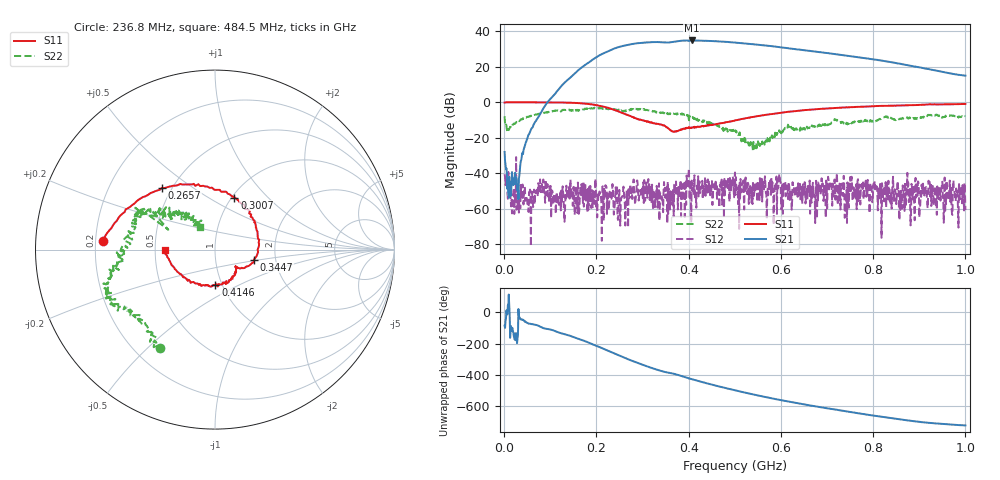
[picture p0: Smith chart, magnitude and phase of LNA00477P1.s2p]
! Created with skrf 1.9.0 (http://scikit-rf.org).
# Hz S RI R 50.0
!freq ReS11 ImS11 ReS21 ImS21 ReS12 ImS12 ReS22 ImS22
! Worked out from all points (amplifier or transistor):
!   1001 points, 1 MHz to 1 GHz, reference 50 ohm
!   highest |S21| = 34.9 dB at 406.6 MHz (marker M1)
!   |S21| within 3 dB of that: 259.3 MHz to 571.9 MHz (312.6 MHz wide, 75.2 % of centre)
!   unconditionally stable (mu >= 1): 221.8 MHz to 280.5 MHz; 303.7 MHz to 399.5 MHz; 400.1 MHz to end of sweep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
!   at 166.8 MHz: K = 2.29, MAG = 29.9 dB, |S12| = -53.2 dB
!   at 500.5 MHz: K = 1.12, MAG = 34.5 dB, |S12| = -39.5 dB
!   at 1 GHz: K = 14.81, MAG = 23.2 dB, |S12| = -60.7 dB
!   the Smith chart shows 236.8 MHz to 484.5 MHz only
!   S11 on the Smith chart (normalised r, x): 236.8 MHz: 0.23, +0.03; 265.7 MHz: 0.44, +0.38; 300.7 MHz: 1.03, +0.66; 344.7 MHz: 1.54, -0.18; 414.6 MHz: 0.93, -0.39; 484.5 MHz: 0.57, -0.00
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1000000  0.9872 0.011  0.00366 -0.0399  -0.00941 -0.000789  0.3085 0.2626
1.08892e8  0.5293 -0.8455  -0.786 -1.472  0.00115 0.00237  0.4198 -0.3815
1.67833e8  -0.2235 -0.9079  -9.564 -0.6279  0.00464 -0.00184  0.0374 -0.6431
2.08792e8  -0.6686 -0.4264  -15.53 15.37  -0.0028 -0.00013  -0.2262 -0.6467
2.36764e8  -0.6245 0.0456  -5.393 31.64  0.000144 -0.00169  -0.3072 -0.5465
2.65735e8  -0.2958 0.3434  18.32 36.52  -0.00135 0.00301  -0.4433 -0.3784
2.82718e8  -0.082 0.3539  32.44 31.2  -0.00239 -0.00136  -0.5812 -0.2628
3.007e8  0.108 0.2901  43.62 19.24  -0.000839 0.0018  -0.5906 -0.1917
3.34666e8  0.2448 0.0208  48.99 -8.825  -0.0012 0.00153  -0.5347 -0.0332
3.44656e8  0.2169 -0.0556  46.06 -16.13  -0.000785 0.000177  -0.5148 0.0241
3.77623e8  0.119 -0.1057  40.06 -35.04  -0.00211 0.00355  -0.4548 0.1795
4.06594e8  0.0432 -0.1911  21.36 -51.14  -9.74e-05 0.00622  -0.302 0.226
4.14586e8  0.00273 -0.1992  15.05 -52.99  0.000863 0.0029  -0.2758 0.1835
4.45555e8  -0.1534 -0.1666  -8.276 -52.87  0.00371 0.00265  -0.1768 0.1851
4.84516e8  -0.2775 -0.00332  -30.97 -39.77  0.00359 -0.00144  -0.0813 0.1258
5.005e8  -0.2958 0.0911  -36.79 -31.66  0.0102 -0.00272  -0.0962 0.1063
5.4046e8  -0.246 0.3028  -41.99 -10.45  0.00498 -0.00195  -0.0731 0.0236
5.88412e8  -0.0605 0.4842  -35.77 9.921  0.00135 -0.00417  -0.0955 -0.0669
6.67333e8  0.3184 0.5395  -14.53 23.37  -0.00345 0.0009  -0.2173 -0.0526
7.53247e8  0.6303 0.3746  3.265 19.51  0.000115 -0.00801  -0.2533 -0.0228
8.34166e8  0.7884 0.1416  9.83 9.777  -0.00079 -0.00164  -0.3822 -0.000614
1e9  0.8143 -0.3885  5.636 -0.4334  -0.000902 -0.000201  -0.261 0.313
